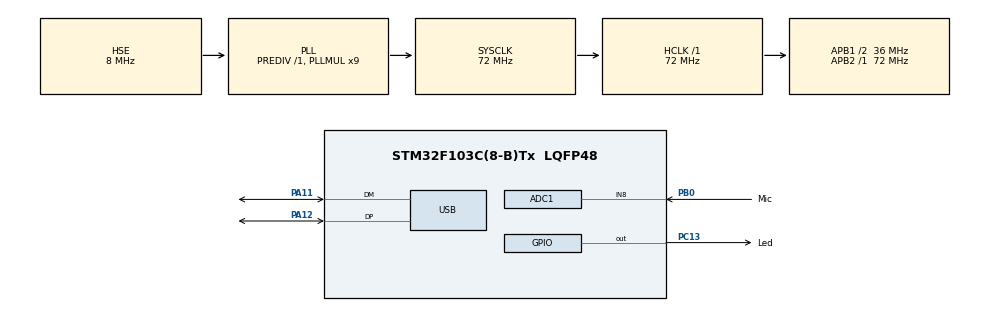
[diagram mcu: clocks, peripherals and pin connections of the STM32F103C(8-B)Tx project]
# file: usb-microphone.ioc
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ADC1.Channel-0\#ChannelRegularConversion=ADC_CHANNEL_8
ADC1.ExternalTrigConv=ADC_EXTERNALTRIGCONV_T3_TRGO
ADC1.NbrOfConversionFlag=1
ADC1.Rank-0\#ChannelRegularConversion=1
ADC1.SamplingTime-0\#ChannelRegularConversion=ADC_SAMPLETIME_13CYCLES_5
ADC1.master=1
Dma.ADC1.0.Direction=DMA_PERIPH_TO_MEMORY
Dma.ADC1.0.Instance=DMA1_Channel1
Dma.ADC1.0.MemDataAlignment=DMA_MDATAALIGN_HALFWORD
Dma.ADC1.0.MemInc=DMA_MINC_ENABLE
Dma.ADC1.0.Mode=DMA_CIRCULAR
Dma.ADC1.0.PeriphDataAlignment=DMA_PDATAALIGN_HALFWORD
Dma.ADC1.0.PeriphInc=DMA_PINC_DISABLE
Dma.ADC1.0.Priority=DMA_PRIORITY_MEDIUM
Dma.Request0=ADC1
Mcu.Family=STM32F1
Mcu.Name=STM32F103C(8-B)Tx
Mcu.Package=LQFP48
NVIC.DMA1_Channel1_IRQn=true\:0\:0\:false\:false\:true\:false\:true
NVIC.PriorityGroup=NVIC_PRIORITYGROUP_4
NVIC.TIM3_IRQn=true\:0\:0\:false\:false\:true\:true\:true
NVIC.USB_LP_CAN1_RX0_IRQn=true\:0\:0\:false\:false\:true\:false\:true
PA11.Mode=Device
PA11.Signal=USB_DM
PA12.Mode=Device
PA12.Signal=USB_DP
PA13.Mode=Serial_Wire
PA13.Signal=SYS_JTMS-SWDIO
PA14.Mode=Serial_Wire
PA14.Signal=SYS_JTCK-SWCLK
PB0.GPIO_Label=Mic
PB0.Signal=ADCx_IN8
PC13-TAMPER-RTC.GPIO_Label=Led
PC13-TAMPER-RTC.Signal=GPIO_Output
PD0-OSC_IN.Mode=HSE-External-Oscillator
PD0-OSC_IN.Signal=RCC_OSC_IN
PD1-OSC_OUT.Mode=HSE-External-Oscillator
PD1-OSC_OUT.Signal=RCC_OSC_OUT
ProjectManager.HeapSize=0x200
ProjectManager.StackSize=0x400
ProjectManager.TargetToolchain=STM32CubeIDE
RCC.ADCPresc=RCC_ADCPCLK2_DIV6
RCC.AHBFreq_Value=72000000
RCC.APB1CLKDivider=RCC_HCLK_DIV2
RCC.APB1Freq_Value=36000000
RCC.APB1TimFreq_Value=72000000
RCC.APB2Freq_Value=72000000
RCC.APB2TimFreq_Value=72000000
RCC.HCLKFreq_Value=72000000
RCC.PLLMUL=RCC_PLL_MUL9
RCC.SYSCLKFreq_VALUE=72000000
RCC.SYSCLKSource=RCC_SYSCLKSOURCE_PLLCLK
RCC.USBFreq_Value=48000000
RCC.USBPrescaler=RCC_USBCLKSOURCE_PLL_DIV1_5
SH.ADCx_IN8.0=ADC1_IN8,IN8
TIM3.AutoReloadPreload=TIM_AUTORELOAD_PRELOAD_DISABLE
TIM3.Period=8999
TIM3.TIM_MasterOutputTrigger=TIM_TRGO_UPDATE
USB_DEVICE.CLASS_NAME_FS=AUDIO
USB_DEVICE.USBD_AUDIO_FREQ=48000
USB_DEVICE.USBD_MAX_NUM_INTERFACES=3
USB_DEVICE.VirtualMode=Audio
USB_DEVICE.VirtualModeFS=Audio_FS
VP_TIM3_VS_ClockSourceINT.Mode=Internal
VP_USB_DEVICE_VS_USB_DEVICE_AUDIO_FS.Mode=AUDIO_FS
board=custom

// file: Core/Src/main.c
/* USER CODE BEGIN Header */
/**
  ******************************************************************************
  * @file           : main.c
  * @brief          : Main program body
  ******************************************************************************
  * @attention
  *
  * Copyright (c) 2021 STMicroelectronics.
  * All rights reserved.
  *
  * This software is licensed under terms that can be found in the LICENSE file
  * in the root directory of this software component.
  * If no LICENSE file comes with this software, it is provided AS-IS.
  *
  ******************************************************************************
  */
/* USER CODE END Header */
#include "main.h"
#include "usb_device.h"

/* USER CODE BEGIN PD */

#define FRAME_SIZE 160 //*0.125ìñ = 20ìñ (ñýìïëèðîâàíèå 8êÃö)
#define ENCODED_FRAME_SIZE 20 //óæèìàåò â 8 ðàç
#define MAX_REC_FRAMES 90 //ìàêñèìàëüíîå ÷èñëî çàïèñûâàåìûõ ôðåéìîâ, Âðåìÿ = MAX_REC_FRAMES*0,02ñåê

/* USER CODE END PD */

ADC_HandleTypeDef hadc1;
DMA_HandleTypeDef hdma_adc1;

TIM_HandleTypeDef htim3;

/* USER CODE BEGIN PV */

__IO uint16_t IN_Buffer[2][FRAME_SIZE];
__IO uint8_t Start_Encoding;

uint8_t Index_Encoding = 0;

uint32_t count = 0;

uint16_t sine_table[36] = {
      512, 601, 687, 768, 841, 904, 955, 993, 1016, 1024,
      1016, 993, 956, 905, 842, 769, 688, 602, 513, 424,
      338, 257, 184, 120, 69, 31, 8, 0, 8, 30,
      68, 119, 182, 255, 335, 422,
};

/* USER CODE END PV */

void SystemClock_Config(void);
static void MX_GPIO_Init(void);
static void MX_DMA_Init(void);
static void MX_ADC1_Init(void);
static void MX_TIM3_Init(void);
/* USER CODE BEGIN PFP */

void init_PWM();

/* USER CODE END PFP */

int main(void)
{

  /* MCU Configuration--------------------------------------------------------*/

  /* Reset of all peripherals, Initializes the Flash interface and the Systick. */
  HAL_Init();

  /* Configure the system clock */
  SystemClock_Config();

  /* Initialize all configured peripherals */
  MX_GPIO_Init();
  MX_DMA_Init();
  MX_ADC1_Init();
  MX_TIM3_Init();
  MX_USB_DEVICE_Init();
  /* USER CODE BEGIN 2 */

  if(HAL_TIM_Base_Start_IT(&htim3) != HAL_OK) Error_Handler();
  if(HAL_ADC_Start_DMA(&hadc1,(uint32_t*)&IN_Buffer[0],FRAME_SIZE*2) != HAL_OK) Error_Handler();

  init_PWM();

  /* USER CODE END 2 */

  /* Infinite loop */
  while (1)
  {

    /* USER CODE BEGIN 3 */

    //GPIOB->CRH &=  ~ ( 0b1111 << 16 ); // сбрасываем биты 16-19
    //GPIOB->CRH |= 0b1000 << 16;  // устанавливаем биты

    if(Start_Encoding > 0)
    {
      Index_Encoding = Start_Encoding - 1;
      for (uint8_t i = 0; i < FRAME_SIZE; i++) {
          if(IN_Buffer[Index_Encoding][i] > 2000) {
              if(GPIOC->IDR & GPIO_IDR_IDR13) GPIOC->ODR &= ~GPIO_ODR_ODR13;
              else GPIOC->ODR |= GPIO_ODR_ODR13;
          }

    	  //IN_Buffer[Index_Encoding][i]^=0x8000;
      }

      //IN_Buffer[Index_Encoding][i]^=0x8000

      /* Flush all the bits in the struct so we can encode a new frame */
      //speex_bits_reset(&bits);
      /* Encode the frame */
      //speex_encode_int(enc_state, (spx_int16_t*)IN_Buffer[Index_Encoding], &bits);
      /* Copy the bits to an array of char that can be decoded */
      //speex_bits_write(&bits, (char *)Rec_Data_ptr, ENCODED_FRAME_SIZE);

      //Rec_Data_ptr += ENCODED_FRAME_SIZE;
      //Encoded_Frames += 1;

      Start_Encoding = 0;
    }

    if(count > 5 * 1e5) {
      if(GPIOC->IDR & GPIO_IDR_IDR13) GPIOC->ODR &= ~GPIO_ODR_ODR13;
      else GPIOC->ODR |= GPIO_ODR_ODR13;
      count = 0;
    }

    count++;

  }
  /* USER CODE END 3 */
}

void SystemClock_Config(void)
{
  RCC_OscInitTypeDef RCC_OscInitStruct = {0};
  RCC_ClkInitTypeDef RCC_ClkInitStruct = {0};
  RCC_PeriphCLKInitTypeDef PeriphClkInit = {0};

  /** Initializes the RCC Oscillators according to the specified parameters
  * in the RCC_OscInitTypeDef structure.
  */
  RCC_OscInitStruct.OscillatorType = RCC_OSCILLATORTYPE_HSE;
  RCC_OscInitStruct.HSEState = RCC_HSE_ON;
  RCC_OscInitStruct.HSEPredivValue = RCC_HSE_PREDIV_DIV1;
  RCC_OscInitStruct.HSIState = RCC_HSI_ON;
  RCC_OscInitStruct.PLL.PLLState = RCC_PLL_ON;
  RCC_OscInitStruct.PLL.PLLSource = RCC_PLLSOURCE_HSE;
  RCC_OscInitStruct.PLL.PLLMUL = RCC_PLL_MUL9;
  if (HAL_RCC_OscConfig(&RCC_OscInitStruct) != HAL_OK)
  {
    Error_Handler();
  }
  /** Initializes the CPU, AHB and APB buses clocks
  */
  RCC_ClkInitStruct.ClockType = RCC_CLOCKTYPE_HCLK|RCC_CLOCKTYPE_SYSCLK
                              |RCC_CLOCKTYPE_PCLK1|RCC_CLOCKTYPE_PCLK2;
  RCC_ClkInitStruct.SYSCLKSource = RCC_SYSCLKSOURCE_PLLCLK;
  RCC_ClkInitStruct.AHBCLKDivider = RCC_SYSCLK_DIV1;
  RCC_ClkInitStruct.APB1CLKDivider = RCC_HCLK_DIV2;
  RCC_ClkInitStruct.APB2CLKDivider = RCC_HCLK_DIV1;

  if (HAL_RCC_ClockConfig(&RCC_ClkInitStruct, FLASH_LATENCY_2) != HAL_OK)
  {
    Error_Handler();
  }
  PeriphClkInit.PeriphClockSelection = RCC_PERIPHCLK_ADC|RCC_PERIPHCLK_USB;
  PeriphClkInit.AdcClockSelection = RCC_ADCPCLK2_DIV6;
  PeriphClkInit.UsbClockSelection = RCC_USBCLKSOURCE_PLL_DIV1_5;
  if (HAL_RCCEx_PeriphCLKConfig(&PeriphClkInit) != HAL_OK)
  {
    Error_Handler();
  }
}

static void MX_ADC1_Init(void)
{

  ADC_ChannelConfTypeDef sConfig = {0};

  /** Common config
  */
  hadc1.Instance = ADC1;
  hadc1.Init.ScanConvMode = ADC_SCAN_DISABLE;
  hadc1.Init.ContinuousConvMode = DISABLE;
  hadc1.Init.DiscontinuousConvMode = DISABLE;
  hadc1.Init.ExternalTrigConv = ADC_EXTERNALTRIGCONV_T3_TRGO;
  hadc1.Init.DataAlign = ADC_DATAALIGN_RIGHT;
  hadc1.Init.NbrOfConversion = 1;
  if (HAL_ADC_Init(&hadc1) != HAL_OK)
  {
    Error_Handler();
  }
  /** Configure Regular Channel
  */
  sConfig.Channel = ADC_CHANNEL_8;
  sConfig.Rank = ADC_REGULAR_RANK_1;
  sConfig.SamplingTime = ADC_SAMPLETIME_7CYCLES_5;
  if (HAL_ADC_ConfigChannel(&hadc1, &sConfig) != HAL_OK)
  {
    Error_Handler();
  }

}

static void MX_TIM3_Init(void)
{

  TIM_ClockConfigTypeDef sClockSourceConfig = {0};
  TIM_MasterConfigTypeDef sMasterConfig = {0};

  htim3.Instance = TIM3;
  htim3.Init.Prescaler = 0;
  htim3.Init.CounterMode = TIM_COUNTERMODE_UP;
  htim3.Init.Period = 8999;
  htim3.Init.ClockDivision = TIM_CLOCKDIVISION_DIV1;
  htim3.Init.AutoReloadPreload = TIM_AUTORELOAD_PRELOAD_DISABLE;
  if (HAL_TIM_Base_Init(&htim3) != HAL_OK)
  {
    Error_Handler();
  }
  sClockSourceConfig.ClockSource = TIM_CLOCKSOURCE_INTERNAL;
  if (HAL_TIM_ConfigClockSource(&htim3, &sClockSourceConfig) != HAL_OK)
  {
    Error_Handler();
  }
  sMasterConfig.MasterOutputTrigger = TIM_TRGO_UPDATE;
  sMasterConfig.MasterSlaveMode = TIM_MASTERSLAVEMODE_DISABLE;
  if (HAL_TIMEx_MasterConfigSynchronization(&htim3, &sMasterConfig) != HAL_OK)
  {
    Error_Handler();
  }

}

static void MX_DMA_Init(void)
{

  /* DMA controller clock enable */
  __HAL_RCC_DMA1_CLK_ENABLE();

  /* DMA interrupt init */
  /* DMA1_Channel1_IRQn interrupt configuration */
  HAL_NVIC_SetPriority(DMA1_Channel1_IRQn, 0, 0);
  HAL_NVIC_EnableIRQ(DMA1_Channel1_IRQn);

}

static void MX_GPIO_Init(void)
{
  GPIO_InitTypeDef GPIO_InitStruct = {0};

  /* GPIO Ports Clock Enable */
  __HAL_RCC_GPIOC_CLK_ENABLE();
  __HAL_RCC_GPIOD_CLK_ENABLE();
  __HAL_RCC_GPIOB_CLK_ENABLE();
  __HAL_RCC_GPIOA_CLK_ENABLE();

  /*Configure GPIO pin Output Level */
  HAL_GPIO_WritePin(Led_GPIO_Port, Led_Pin, GPIO_PIN_RESET);

  /*Configure GPIO pin : Led_Pin */
  GPIO_InitStruct.Pin = Led_Pin;
  GPIO_InitStruct.Mode = GPIO_MODE_OUTPUT_PP;
  GPIO_InitStruct.Pull = GPIO_NOPULL;
  GPIO_InitStruct.Speed = GPIO_SPEED_FREQ_LOW;
  HAL_GPIO_Init(Led_GPIO_Port, &GPIO_InitStruct);

}

/* USER CODE BEGIN 4 */

void init_PWM()
{
  RCC->APB2ENR |= RCC_APB2ENR_IOPBEN;
  RCC->APB1ENR |= RCC_APB1ENR_TIM4EN;

  GPIOB->CRL &= ~GPIO_CRL_CNF6;
  GPIOB->CRL |= GPIO_CRL_CNF6_1 | GPIO_CRL_MODE6_0;      // PB6: AF PP

  /*---- Настройка генератора Ш�?М (TIM4)---------------*/
  /* несущая частота Ш�?М = SystemCoreClock / 1024 */
  TIM4->PSC = 0;
  TIM4->ARR = 1024 - 1;                         // 10 бит
  TIM4->DIER |= TIM_DIER_UDE;
  TIM4->CCMR1 = TIM_CCMR1_OC1M_2 | TIM_CCMR1_OC1M_1 |   // PWM mode 2
                TIM_CCMR1_OC1PE;                  // Preload CCR Enable
  TIM4->CCER = TIM_CCER_CC1E;                     // Out Enable
  TIM4->CCR1 = 512;                              // Центральное значение (1/2)

  TIM4->DCR = 0x0D | 0;               //доступ к регистру CCR1 для изменения Ш�?М
  /*----------------------------------------------------*/

  /*---- Настройка генерации синусоиды (TIM4, DMA)------*/
  /* например, синусоида 1 кГц, размер табл.синусов 36 знач.*/

  RCC->AHBENR |= RCC_AHBENR_DMA1EN;
  /* DMA для автоматического изменения скважности */

  DMA1_Channel7->CCR |=
                  DMA_CCR_DIR  |               // Mem->Periph
                  DMA_CCR_MINC |               // Mem Incr
                  DMA_CCR_CIRC |               // Circular mode
                  DMA_CCR_PSIZE_0 |            // 16 bit
                  DMA_CCR_MSIZE_0;             // 16 bit

  DMA1_Channel7->CNDTR = 36;                     // размер таблицы синуса
  DMA1_Channel7->CMAR = (uint32_t)sine_table;         // адрес таблицы
  DMA1_Channel7->CPAR = (uint32_t)&TIM4->DMAR;        // арес периф.регистра
  //DMA1_Channel7->CCR |= DMA_CCR_EN;               // канал DMA включен

  /*----------------------------------------------------*/

  /*---- Запуск ----------------------------------------*/
  TIM4->CR1 |= TIM_CR1_CEN;
  /*----------------------------------------------------*/

}

/* USER CODE END 4 */

void Error_Handler(void)
{
  __disable_irq();
  while (1)
  {
  }
}
